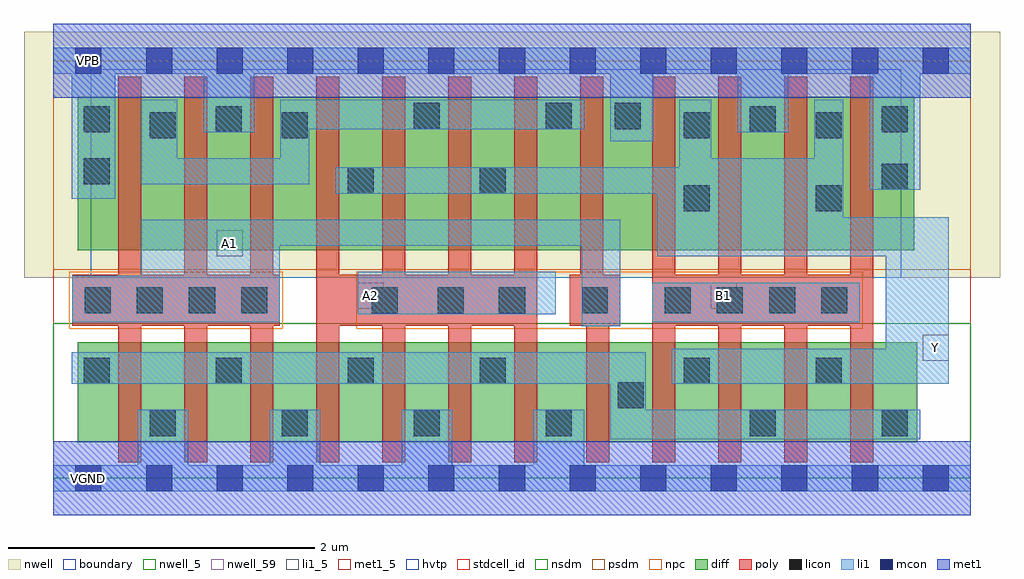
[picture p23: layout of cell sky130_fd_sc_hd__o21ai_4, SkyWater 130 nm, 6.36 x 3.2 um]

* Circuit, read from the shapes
.subckt sky130_fd_sc_hd__o21ai_4 A1 A2 B1 VGND VNB VPB VPWR Y
XM1 VGND A1 n1 VNB sky130_fd_pr__nfet_01v8 w=0.65 l=0.15 m=4
XM2 n1 A2 VGND VNB sky130_fd_pr__nfet_01v8 w=0.65 l=0.15 m=4
XM3 Y B1 n1 VNB sky130_fd_pr__nfet_01v8 w=0.65 l=0.15 m=4
XM4 n2 A1 VPWR VPB sky130_fd_pr__pfet_01v8_hvt w=1 l=0.15 m=4
XM5 Y A2 n2 VPB sky130_fd_pr__pfet_01v8_hvt w=1 l=0.15 m=4
XM6 Y B1 VPWR VPB sky130_fd_pr__pfet_01v8_hvt w=1 l=0.15 m=4
.ends

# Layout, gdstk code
import gdstk
lib = gdstk.Library(unit=1e-6, precision=1e-09)
def R(c, l, rs):  # rectangles x0, y0, x1, y1
    for r in rs: c.add(gdstk.rectangle(r[:2], r[2:], *l))
def A(c, l, x, y, w, h, nx, ny, dx, dy):  # array of equal rectangles
    R(c, l, [(x+i*dx, y+j*dy, x+i*dx+w, y+j*dy+h) for i in range(nx) for j in range(ny)])
nwell_5 = (64, 5)
nwell = (64, 20)
nwell_59 = (64, 59)
diff = (65, 20)
poly = (66, 20)
licon = (66, 44)
li1_5 = (67, 5)
li1 = (67, 20)
mcon = (67, 44)
met1_5 = (68, 5)
met1 = (68, 20)
hvtp = (78, 44)
stdcell_id = (81, 4)
nsdm = (93, 44)
psdm = (94, 20)
npc = (95, 20)
boundary = (235, 4)

sky130_fd_sc_hd__o21ai_4 = lib.new_cell('sky130_fd_sc_hd__o21ai_4')
R(sky130_fd_sc_hd__o21ai_4, nwell_5, [(0.145,2.635,0.315,2.805)])
R(sky130_fd_sc_hd__o21ai_4, nwell, [(-0.19,1.305,6.17,2.91)])
R(sky130_fd_sc_hd__o21ai_4, nwell_59, [(0.145,-0.085,0.315,0.085)])
R(sky130_fd_sc_hd__o21ai_4, diff, [(0.16,0.235,5.63,0.885), (0.16,1.485,5.61,2.485)])
A(sky130_fd_sc_hd__o21ai_4, poly, 0.425, 0.105, 0.15, 0.89, 7, 1, 0.43, 0)
A(sky130_fd_sc_hd__o21ai_4, poly, 3.475, 0.105, 0.15, 0.89, 5, 1, 0.43, 0)
A(sky130_fd_sc_hd__o21ai_4, poly, 0.425, 1.325, 0.15, 1.29, 8, 1, 0.43, 0)
A(sky130_fd_sc_hd__o21ai_4, poly, 3.905, 1.325, 0.15, 1.29, 4, 1, 0.43, 0)
R(sky130_fd_sc_hd__o21ai_4, poly, [(0.125,0.995,1.475,1.325), (1.715,0.995,3.155,1.325), (3.365,0.995,3.695,1.325), (3.905,0.995,5.345,1.325)])
A(sky130_fd_sc_hd__o21ai_4, licon, 0.63, 0.275, 0.17, 0.17, 4, 1, 0.86, 0)
A(sky130_fd_sc_hd__o21ai_4, licon, 0.2, 0.615, 0.17, 0.17, 4, 1, 0.86, 0)
A(sky130_fd_sc_hd__o21ai_4, licon, 0.205, 1.075, 0.17, 0.17, 4, 1, 0.34, 0)
A(sky130_fd_sc_hd__o21ai_4, licon, 2.905, 1.075, 0.17, 0.17, 3, 1, 0.54, 0)
A(sky130_fd_sc_hd__o21ai_4, licon, 4.325, 1.075, 0.17, 0.17, 3, 1, 0.34, 0)
R(sky130_fd_sc_hd__o21ai_4, licon, [(4.54,0.275,4.71,0.445), (5.4,0.275,5.57,0.445), (3.68,0.455,3.85,0.625), (4.11,0.615,4.28,0.785), (4.97,0.615,5.14,0.785), (2.075,1.075,2.245,1.245), (2.505,1.075,2.675,1.245), (4.11,1.74,4.28,1.91), (4.97,1.74,5.14,1.91), (1.92,1.855,2.09,2.025), (2.78,1.855,2.95,2.025), (5.4,1.88,5.57,2.05), (0.2,1.915,0.37,2.085), (0.63,2.215,0.8,2.385), (1.49,2.215,1.66,2.385), (4.11,2.215,4.28,2.385), (4.97,2.215,5.14,2.385), (0.2,2.255,0.37,2.425), (1.06,2.255,1.23,2.425), (4.54,2.255,4.71,2.425), (5.4,2.255,5.57,2.425), (2.35,2.275,2.52,2.445), (3.21,2.275,3.38,2.445), (3.66,2.275,3.83,2.445)])
R(sky130_fd_sc_hd__o21ai_4, li1_5, [(5.665,0.765,5.835,0.935), (1.985,1.105,2.155,1.275), (4.285,1.105,4.455,1.275), (1.065,1.445,1.235,1.615)])
A(sky130_fd_sc_hd__o21ai_4, li1, 0.55, 0.085, 0.33, 0.36, 4, 1, 0.86, 0)
R(sky130_fd_sc_hd__o21ai_4, li1, [(0,-0.085,5.98,0.085), (3.63,0.255,5.65,0.445), (3.63,0.445,3.86,0.615), (0.12,0.615,3.86,0.82), (4.03,0.615,5.835,0.845), (5.425,0.845,5.835,1.445), (3.445,0.99,3.695,1.515), (0.125,1.015,1.475,1.32), (3.905,1.015,5.255,1.275), (1.985,1.07,3.275,1.345), (0.575,1.32,1.475,1.515), (3.935,1.445,5.835,1.7), (0.575,1.515,3.695,1.685), (3.935,1.7,5.15,1.855), (0.12,1.82,0.405,2.635), (1.84,1.855,5.15,2.025), (5.32,1.88,5.65,2.635), (0.575,1.915,1.67,2.085), (4.08,2.025,5.15,2.085), (0.575,2.085,0.81,2.465), (1.48,2.085,1.67,2.275), (4.08,2.085,4.29,2.465), (4.96,2.085,5.15,2.465), (3.63,2.195,3.91,2.635), (0.98,2.255,1.31,2.635), (4.46,2.255,4.79,2.635), (1.48,2.275,3.46,2.465), (0,2.635,5.98,2.805)])
A(sky130_fd_sc_hd__o21ai_4, mcon, 0.145, -0.085, 0.17, 0.17, 13, 2, 0.46, 2.72)
R(sky130_fd_sc_hd__o21ai_4, met1_5, [(0.145,-0.085,0.315,0.085), (0.145,2.635,0.315,2.805)])
R(sky130_fd_sc_hd__o21ai_4, met1, [(0,-0.24,5.98,0.24), (0,2.48,5.98,2.96)])
R(sky130_fd_sc_hd__o21ai_4, hvtp, [(0.245,1.305,5.525,2.665)])
R(sky130_fd_sc_hd__o21ai_4, stdcell_id, [(0,0,5.98,2.72)])
R(sky130_fd_sc_hd__o21ai_4, nsdm, [(0,0,5.98,1.01)])
R(sky130_fd_sc_hd__o21ai_4, psdm, [(0,1.36,5.98,2.72)])
R(sky130_fd_sc_hd__o21ai_4, npc, [(0.105,0.975,1.495,1.345), (1.975,0.975,5.275,1.345)])
R(sky130_fd_sc_hd__o21ai_4, boundary, [(0,0,5.98,2.72)])
sky130_fd_sc_hd__o21ai_4.add(gdstk.Label('A1', (1.15,1.53), layer=67, texttype=5))
sky130_fd_sc_hd__o21ai_4.add(gdstk.Label('A2', (2.07,1.19), layer=67, texttype=5))
sky130_fd_sc_hd__o21ai_4.add(gdstk.Label('B1', (4.37,1.19), layer=67, texttype=5))
sky130_fd_sc_hd__o21ai_4.add(gdstk.Label('VGND', (0.23,0), layer=68, texttype=5))
sky130_fd_sc_hd__o21ai_4.add(gdstk.Label('VNB', (0.23,0), layer=64, texttype=59))
sky130_fd_sc_hd__o21ai_4.add(gdstk.Label('VPB', (0.23,2.72), layer=64, texttype=5))
sky130_fd_sc_hd__o21ai_4.add(gdstk.Label('VPWR', (0.23,2.72), layer=68, texttype=5))
sky130_fd_sc_hd__o21ai_4.add(gdstk.Label('Y', (5.75,0.85), layer=67, texttype=5))

lib.write_gds('sky130_fd_sc_hd__o21ai_4.gds')
